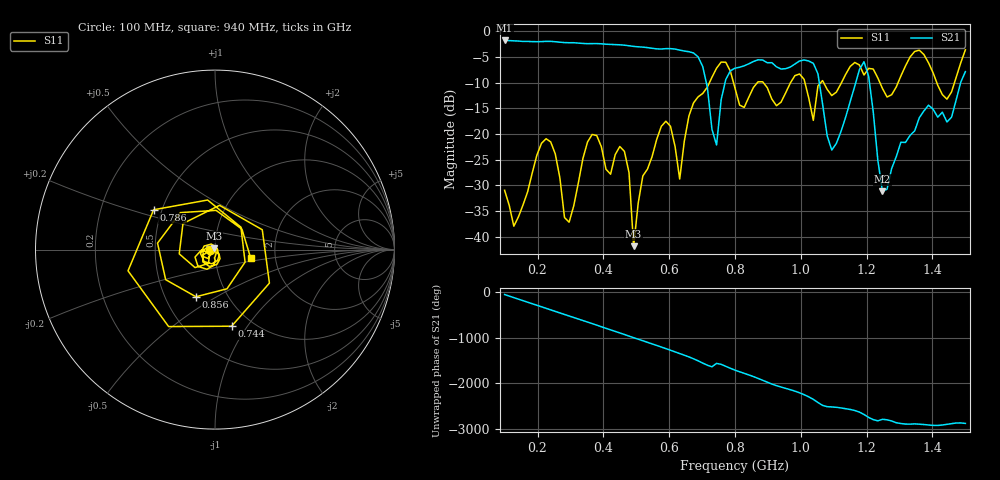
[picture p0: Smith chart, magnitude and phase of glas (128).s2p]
! NanoVNA-App
! Date: 2025-09-25 15:56:28
! Start: 100MHz Stop: 1,5GHz Points: 101
! S-Parameter data: F S11 S21 S12 S22
# Hz S RI R 50
!  Frequency  S11_Real  S11_Imag  S21_Real  S21_Imag  S12_Real  S12_Imag  S22_Real  S22_Imag
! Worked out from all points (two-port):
!   101 points, 100 MHz to 1.5 GHz, reference 50 ohm
!   highest |S21| = -1.80 dB at 100 MHz (marker M1); lowest = -31.1 dB at 1.248 GHz (marker M2)
!   |S21| within 3 dB of the highest: start of sweep to 684.3 MHz
!   lowest |S11| = -41.8 dB at 492 MHz (marker M3), VSWR 1.02, Z = 49.5 + j0.638 ohm
!   |S11| at or under -10 dB: start of sweep to 722.5 MHz; 795.4 MHz to 868.1 MHz (72.66 MHz wide, 8.74 % of centre); 886 MHz to 968.9 MHz (82.9 MHz wide, 8.94 % of centre) (the widest 3 of 7)
!   S12 and S22 are empty: the file has one direction only
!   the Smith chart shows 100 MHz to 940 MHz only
!   S11 on the Smith chart (normalised r, x): 100 MHz: 0.95, -0.01; 744 MHz: 0.80, -0.85; 786 MHz: 0.45, +0.24; 856 MHz: 0.71, -0.41; 940 MHz: 1.49, -0.15
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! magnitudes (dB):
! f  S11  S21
! 100 MHz  -31.0  -1.8
! 128 MHz  -37.9  -1.9
! 226 MHz  -20.9  -2.0
! 296 MHz  -37.2  -2.2
! 338 MHz  -24.7  -2.4
! 464 MHz  -23.4  -2.7
! 492 MHz  -41.8  -3.0
! 576 MHz  -18.5  -3.5
! 632 MHz  -28.8  -3.7
! 702 MHz  -12.1  -6.9
! 744 MHz  -7.2  -22.1
! 786 MHz  -7.8  -7.7
! 800 MHz  -11.1  -7.2
! 856 MHz  -11.0  -5.9
! 940 MHz  -13.8  -7.4
! 996 MHz  -8.3  -5.8
! 1.038 GHz  -17.3  -6.3
! 1.094 GHz  -12.5  -23.1
! 1.192 GHz  -8.5  -5.9
! 1.248 GHz  -11.1  -31.1
! 1.276 GHz  -12.4  -26.7
! 1.5 GHz  -3.6  -7.9
